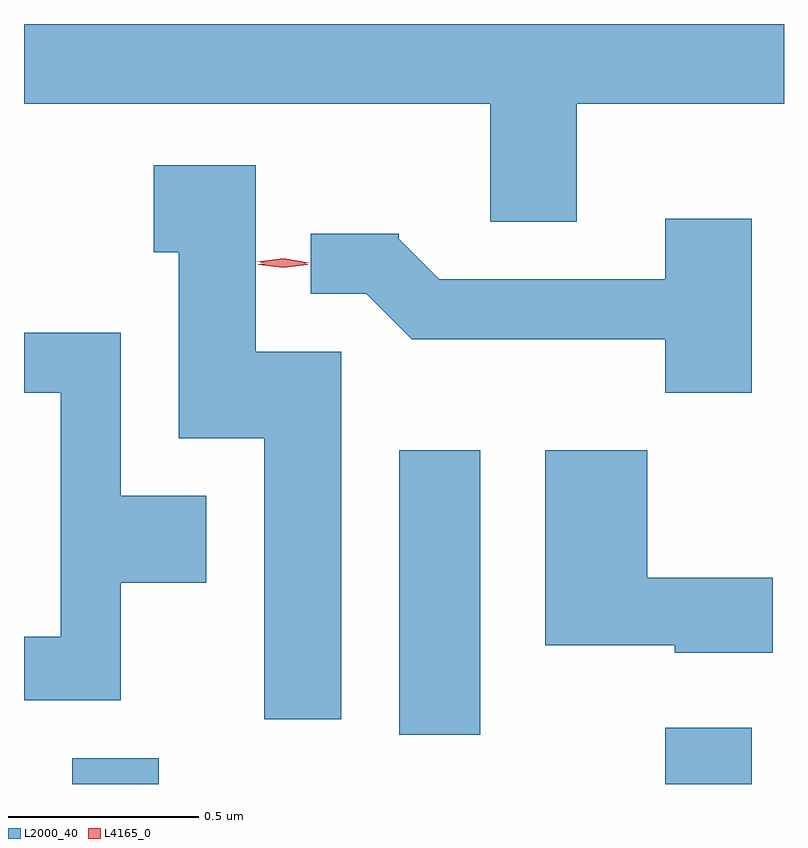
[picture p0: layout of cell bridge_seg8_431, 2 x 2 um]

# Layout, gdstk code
import gdstk
lib = gdstk.Library(unit=1e-6, precision=1e-09)
def R(c, l, rs):  # rectangles x0, y0, x1, y1
    for r in rs: c.add(gdstk.rectangle(r[:2], r[2:], *l))
def P(c, l, *ps):  # polygons
    for p in ps: c.add(gdstk.Polygon(p, *l))
L2000_40 = (2000, 40)
L4165_0 = (4165, 0)

bridge_seg8_431 = lib.new_cell('bridge_seg8_431')
R(bridge_seg8_431, L2000_40, [(1004.001,1867.926,1004.229,1867.994), (1005.561,1867.926,1005.789,1868.074), (1004.861,1868.056,1005.074,1868.804)])
P(bridge_seg8_431, L2000_40, [(1005.329,1869.716),(1005.874,1869.716),(1005.874,1869.926),(1003.874,1869.926),(1003.874,1869.716),(1005.101,1869.716),(1005.101,1869.406),(1005.329,1869.406)],
  [(1004.709,1869.064),(1004.484,1869.064),(1004.484,1869.554),(1004.216,1869.554),(1004.216,1869.326),(1004.281,1869.326),(1004.281,1868.836),(1004.506,1868.836),(1004.506,1868.096),(1004.709,1868.096)],
  [(1005.789,1869.414),(1005.561,1869.414),(1005.561,1869.254),(1004.967,1869.254),(1004.86,1869.361),(1004.86,1869.374),(1004.628,1869.374),(1004.628,1869.216),(1004.774,1869.216),(1004.894,1869.096),(1005.561,1869.096),(1005.561,1868.956),(1005.789,1868.956)],
  [(1004.129,1868.456),(1004.354,1868.456),(1004.354,1868.684),(1004.129,1868.684),(1004.129,1869.114),(1003.874,1869.114),(1003.874,1868.956),(1003.971,1868.956),(1003.971,1868.314),(1003.874,1868.314),(1003.874,1868.146),(1004.129,1868.146)],
  [(1005.844,1868.469),(1005.514,1868.469),(1005.514,1868.804),(1005.246,1868.804),(1005.246,1868.291),(1005.586,1868.291),(1005.586,1868.271),(1005.844,1868.271)])
P(bridge_seg8_431, L4165_0, [(1004.556,1869.284),(1004.49,1869.293),(1004.49,1869.294),(1004.49,1869.294),(1004.556,1869.304),(1004.621,1869.294),(1004.622,1869.294),(1004.621,1869.293)],
  [(1004.556,1869.289),(1004.488,1869.3),(1004.488,1869.301),(1004.488,1869.301),(1004.556,1869.309),(1004.624,1869.298),(1004.625,1869.298),(1004.624,1869.298)])

lib.write_gds('bridge_seg8_431.gds')
